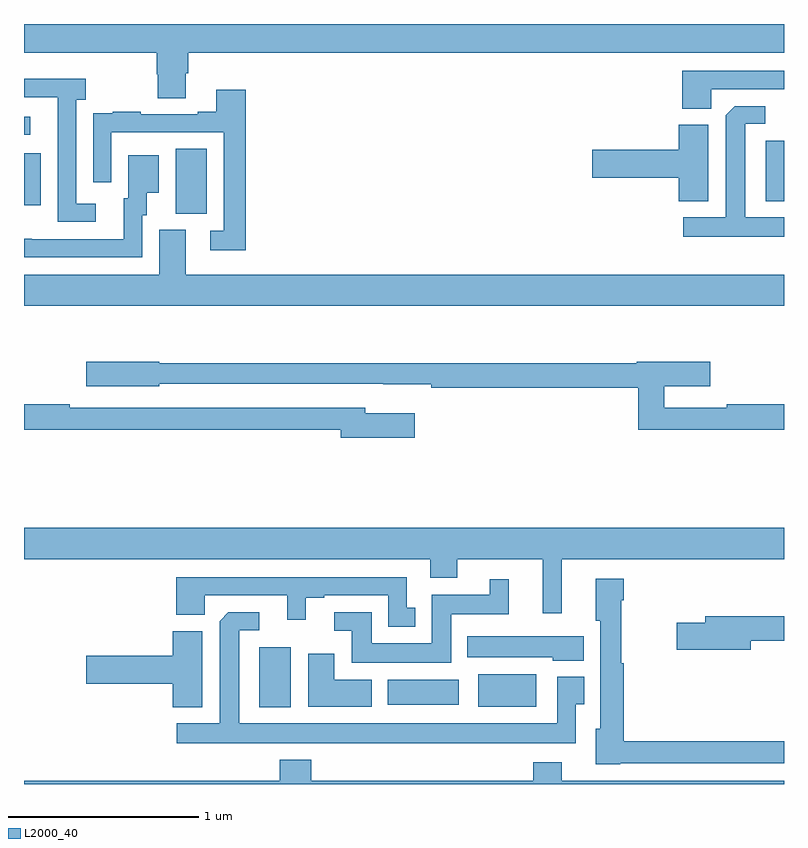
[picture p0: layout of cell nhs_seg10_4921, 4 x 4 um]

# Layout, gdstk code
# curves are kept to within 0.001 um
import gdstk
lib = gdstk.Library(unit=1e-6, precision=1e-09)
def R(c, l, rs):  # rectangles x0, y0, x1, y1
    for r in rs: c.add(gdstk.rectangle(r[:2], r[2:], *l))
def P(c, l, *ps):  # polygons
    for p in ps: c.add(gdstk.Polygon(p, *l))
L2000_40 = (2000, 40)

nhs_seg10_4921 = lib.new_cell('nhs_seg10_4921')
R(nhs_seg10_4921, L2000_40, [(396.239,1264.904,396.403,1265.221), (397.391,1264.907,397.696,1265.077), (396.914,1264.916,397.288,1265.05), (395.798,1267.501,395.962,1267.844), (395,1267.545,395.089,1267.819), (398.903,1267.568,399,1267.885), (395,1267.917,395.032,1268.013)])
P(nhs_seg10_4921, L2000_40, [(395.851,1268.242),(395.864,1268.242),(395.864,1268.348),(399,1268.348),(399,1268.5),(395,1268.5),(395,1268.348),(395.699,1268.348),(395.699,1268.235),(395.704,1268.235),(395.704,1268.11),(395.851,1268.11)],
  [(398.616,1268.157),(399,1268.157),(399,1268.253),(398.465,1268.253),(398.465,1268.054),(398.616,1268.054)],
  [(395.377,1267.554),(395.274,1267.554),(395.274,1268.102),(395.326,1268.102),(395.326,1268.212),(395,1268.212),(395,1268.115),(395.177,1268.115),(395.177,1267.915),(395.178,1267.915),(395.178,1267.458),(395.377,1267.458)],
  [(396.167,1268.155),(396.011,1268.155),(396.011,1268.038),(395.915,1268.038),(395.915,1268.025),(395.615,1268.025),(395.615,1268.038),(395.467,1268.038),(395.467,1268.031),(395.365,1268.031),(395.365,1267.922),(395.364,1267.922),(395.364,1267.668),(395.46,1267.668),(395.46,1267.929),(396.051,1267.929),(396.051,1267.413),(395.979,1267.413),(395.979,1267.308),(396.167,1267.308)],
  [(399,1267.483),(398.797,1267.483),(398.797,1267.974),(398.902,1267.974),(398.902,1268.067),(398.74,1268.067),(398.694,1268.021),(398.693,1267.483),(398.469,1267.483),(398.469,1267.379),(399,1267.379)],
  [(398.602,1267.969),(398.447,1267.969),(398.447,1267.838),(397.992,1267.838),(397.992,1267.691),(398.447,1267.691),(398.447,1267.568),(398.602,1267.568)],
  [(395.622,1267.494),(395.647,1267.494),(395.647,1267.613),(395.71,1267.613),(395.71,1267.81),(395.549,1267.81),(395.549,1267.584),(395.525,1267.584),(395.525,1267.368),(395.041,1267.368),(395.041,1267.369),(395,1267.369),(395,1267.272),(395.622,1267.272)],
  [(399,1267.18),(395.851,1267.18),(395.851,1267.416),(395.711,1267.416),(395.711,1267.18),(395,1267.18),(395,1267.016),(399,1267.016)],
  [(399,1266.5),(398.698,1266.5),(398.698,1266.48),(398.369,1266.48),(398.369,1266.593),(398.611,1266.593),(398.611,1266.723),(398.226,1266.723),(398.226,1266.715),(395.712,1266.715),(395.712,1266.723),(395.328,1266.723),(395.328,1266.593),(395.712,1266.593),(395.712,1266.606),(396.892,1266.606),(396.892,1266.605),(397.144,1266.605),(397.144,1266.586),(398.233,1266.586),(398.233,1266.364),(399,1266.364)],
  [(397.057,1266.451),(396.796,1266.451),(396.796,1266.48),(395.24,1266.48),(395.24,1266.5),(395,1266.5),(395,1266.364),(396.668,1266.364),(396.668,1266.322),(397.057,1266.322)],
  [(397.829,1265.684),(399,1265.684),(399,1265.848),(395,1265.848),(395,1265.684),(397.139,1265.684),(397.139,1265.585),(397.279,1265.585),(397.279,1265.684),(397.73,1265.684),(397.73,1265.4),(397.829,1265.4)],
  [(397.06,1265.427),(397.014,1265.427),(397.014,1265.589),(395.801,1265.589),(395.801,1265.39),(395.952,1265.39),(395.952,1265.493),(396.386,1265.493),(396.386,1265.364),(396.484,1265.364),(396.484,1265.481),(396.58,1265.481),(396.58,1265.493),(396.918,1265.493),(396.918,1265.327),(397.06,1265.327)],
  [(398.139,1264.608),(399,1264.608),(399,1264.724),(398.156,1264.724),(398.156,1265.135),(398.143,1265.135),(398.143,1265.468),(398.156,1265.468),(398.156,1265.581),(398.009,1265.581),(398.009,1265.358),(398.033,1265.358),(398.033,1264.791),(398.009,1264.791),(398.009,1264.604),(398.139,1264.604)],
  [(397.249,1265.393),(397.55,1265.393),(397.55,1265.578),(397.451,1265.578),(397.451,1265.497),(397.145,1265.497),(397.145,1265.242),(396.829,1265.242),(396.829,1265.403),(396.633,1265.403),(396.633,1265.307),(396.725,1265.307),(396.725,1265.138),(397.249,1265.138)],
  [(397.903,1264.921),(397.948,1264.921),(397.948,1265.065),(397.806,1265.065),(397.806,1264.819),(396.133,1264.819),(396.133,1265.31),(396.238,1265.31),(396.238,1265.403),(396.076,1265.403),(396.03,1265.357),(396.029,1264.819),(395.805,1264.819),(395.805,1264.715),(397.903,1264.715)],
  [(398.824,1265.254),(399,1265.254),(399,1265.383),(398.585,1265.383),(398.585,1265.349),(398.436,1265.349),(398.436,1265.207),(398.824,1265.207)],
  [(395.938,1265.305),(395.783,1265.305),(395.783,1265.174),(395.328,1265.174),(395.328,1265.027),(395.783,1265.027),(395.783,1264.904),(395.938,1264.904)],
  [(397.945,1265.278),(397.334,1265.278),(397.334,1265.168),(397.782,1265.168),(397.782,1265.15),(397.945,1265.15)],
  [(396.829,1265.05),(396.634,1265.05),(396.634,1265.185),(396.497,1265.185),(396.497,1264.907),(396.829,1264.907)],
  [(399,1264.516),(397.831,1264.516),(397.831,1264.615),(397.679,1264.615),(397.679,1264.516),(396.512,1264.516),(396.512,1264.627),(396.347,1264.627),(396.347,1264.516),(395,1264.516),(395,1264.5),(399,1264.5)])

lib.write_gds('nhs_seg10_4921.gds')
